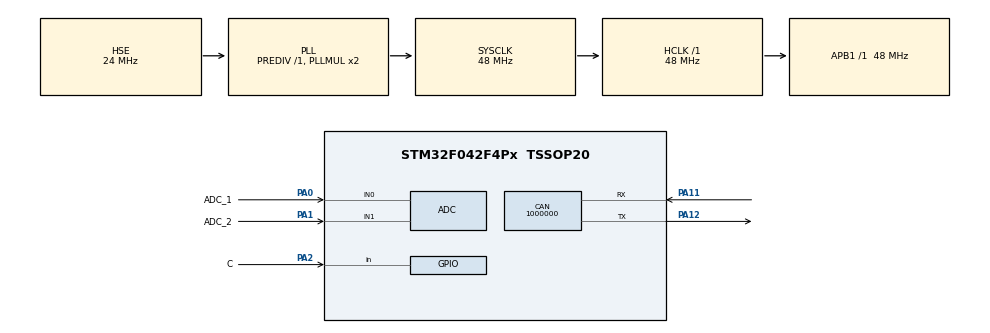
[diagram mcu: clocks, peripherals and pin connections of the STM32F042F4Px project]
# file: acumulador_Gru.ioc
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ADC.ContinuousConvMode=ENABLE
ADC.DMAContinuousRequests=ENABLE
ADC.DataAlign=ADC_DATAALIGN_LEFT
ADC.DiscontinuousConvMode=DISABLE
ADC.SamplingTime=ADC_SAMPLETIME_239CYCLES_5
CAN.CalculateBaudRate=1000000
CAN.CalculateTimeQuantum=333.3333333333333
Dma.ADC.0.Direction=DMA_PERIPH_TO_MEMORY
Dma.ADC.0.Instance=DMA1_Channel1
Dma.ADC.0.MemDataAlignment=DMA_MDATAALIGN_HALFWORD
Dma.ADC.0.MemInc=DMA_MINC_ENABLE
Dma.ADC.0.Mode=DMA_CIRCULAR
Dma.ADC.0.PeriphDataAlignment=DMA_PDATAALIGN_HALFWORD
Dma.ADC.0.PeriphInc=DMA_PINC_DISABLE
Dma.ADC.0.Priority=DMA_PRIORITY_LOW
Dma.Request0=ADC
Mcu.Family=STM32F0
Mcu.Name=STM32F042F4Px
Mcu.Package=TSSOP20
NVIC.DMA1_Channel1_IRQn=true\:0\:0\:false\:false\:true\:false\:true\:true
NVIC.TIM14_IRQn=true\:0\:0\:false\:false\:true\:true\:true\:true
PA0.GPIO_Label=ADC_1
PA0.Mode=IN0
PA0.Signal=ADC_IN0
PA1.GPIO_Label=ADC_2
PA1.Mode=IN1
PA1.Signal=ADC_IN1
PA11.GPIO_PuPd=GPIO_PULLUP
PA11.Mode=CAN_Activate
PA11.Signal=CAN_RX
PA12.Mode=CAN_Activate
PA12.Signal=CAN_TX
PA13.Mode=Serial_Wire
PA13.Signal=SYS_SWDIO
PA14.Mode=Serial_Wire
PA14.Signal=SYS_SWCLK
PA2.GPIO_Label=C
PA2.Signal=GPIO_Input
PF0-OSC_IN.Mode=HSE-External-Oscillator
PF0-OSC_IN.Signal=RCC_OSC_IN
PF1-OSC_OUT.Mode=HSE-External-Oscillator
PF1-OSC_OUT.Signal=RCC_OSC_OUT
ProjectManager.HeapSize=0x200
ProjectManager.StackSize=0x400
ProjectManager.TargetToolchain=STM32CubeIDE
RCC.AHBFreq_Value=48000000
RCC.APB1Freq_Value=48000000
RCC.APB1TimFreq_Value=48000000
RCC.HCLKFreq_Value=48000000
RCC.HSE_VALUE=24000000
RCC.PLLSourceVirtual=RCC_PLLSOURCE_HSE
RCC.SYSCLKFreq_VALUE=48000000
RCC.SYSCLKSource=RCC_SYSCLKSOURCE_PLLCLK
TIM14.Period=1
TIM14.Prescaler=48000-1
VP_SYS_VS_PINREMAP.Mode=PINREMAP
VP_TIM14_VS_ClockSourceINT.Mode=Enable_Timer
board=custom

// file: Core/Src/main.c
/* USER CODE BEGIN Header */
/**
  ******************************************************************************
  * @file           : main.c
  * @brief          : Main program body
  ******************************************************************************
  * @attention
  *
  * Copyright (c) 2024 STMicroelectronics.
  * All rights reserved.
  *
  * This software is licensed under terms that can be found in the LICENSE file
  * in the root directory of this software component.
  * If no LICENSE file comes with this software, it is provided AS-IS.
  *
  ******************************************************************************
  */
/* USER CODE END Header */
#include "main.h"

/* USER CODE BEGIN PD */
#define CAN_ID_0 0x0A0
#define CAN_ID_1 0x0A1
/* USER CODE END PD */

ADC_HandleTypeDef hadc;
DMA_HandleTypeDef hdma_adc;

CAN_HandleTypeDef hcan;

TIM_HandleTypeDef htim14;

void SystemClock_Config(void);
static void MX_GPIO_Init(void);
static void MX_DMA_Init(void);
static void MX_ADC_Init(void);
static void MX_CAN_Init(void);
static void MX_TIM14_Init(void);

/* USER CODE BEGIN 0 */
uint16_t adc_buffer[2];
uint16_t adc1;
uint16_t adc2;
uint16_t key;

CAN_TxHeaderTypeDef transmit_key = {
		.DLC = 6,
		.ExtId = 0,
		.IDE = CAN_ID_STD,
		.RTR = CAN_RTR_DATA,
		.StdId = CAN_ID_0,
		.TransmitGlobalTime = DISABLE
};
CAN_TxHeaderTypeDef transmit_time = {
		.DLC = 4,
		.ExtId = 0,
		.IDE = CAN_ID_STD,
		.RTR = CAN_RTR_DATA,
		.StdId = CAN_ID_1,
		.TransmitGlobalTime = DISABLE
};

uint32_t TxMailBox;

uint8_t TxData_key[6];
uint8_t TxData_time[4];
uint8_t falling;
uint32_t elapsed_time;
/* USER CODE END 0 */

int main(void)
{
  /* USER CODE BEGIN 1 */
	falling = 0;
	adc1 = 0;
	adc2 = 0;
  /* USER CODE END 1 */

  /* MCU Configuration--------------------------------------------------------*/

  /* Reset of all peripherals, Initializes the Flash interface and the Systick. */
  HAL_Init();

  /* Configure the system clock */
  SystemClock_Config();

  /* Initialize all configured peripherals */
  MX_GPIO_Init();
  MX_DMA_Init();
  MX_ADC_Init();
  MX_CAN_Init();
  MX_TIM14_Init();
  /* USER CODE BEGIN 2 */
  HAL_ADC_Start_DMA(&hadc, (uint32_t*)adc_buffer, 2);
  HAL_ADC_Start_IT(&hadc);
  HAL_CAN_Start(&hcan);
  /* USER CODE END 2 */

  /* Infinite loop */
  /* USER CODE BEGIN WHILE */
  while (1)
  {
	if(falling == 0 && HAL_GPIO_ReadPin(GPIOA, C_Pin) == GPIO_PIN_RESET){
		key = adc1 - adc2;
		HAL_TIM_Base_Start_IT(&htim14);
		falling = 1;
	}

	if(falling == 1 && HAL_GPIO_ReadPin(GPIOA, C_Pin) != GPIO_PIN_RESET){
		HAL_TIM_Base_Stop_IT(&htim14);
		falling = 0;

		TxData_key[0] = key;
		TxData_key[1] = key >> 8;
		TxData_key[2] = adc1;
		TxData_key[3] = adc1 >> 8;
		TxData_key[4] = adc2;
		TxData_key[5] = adc2 >> 8;

		TxData_time[0] = elapsed_time;
		TxData_time[2] = elapsed_time >> 8;
		TxData_time[3] = elapsed_time >> 16;
		TxData_time[4] = elapsed_time >> 24;

		HAL_CAN_AddTxMessage(&hcan, &transmit_key, TxData_key, &TxMailBox);
		HAL_CAN_AddTxMessage(&hcan, &transmit_time, TxData_time, &TxMailBox);
	}
    /* USER CODE END WHILE */

  }
}

void SystemClock_Config(void)
{
  RCC_OscInitTypeDef RCC_OscInitStruct = {0};
  RCC_ClkInitTypeDef RCC_ClkInitStruct = {0};

  /** Initializes the RCC Oscillators according to the specified parameters
  * in the RCC_OscInitTypeDef structure.
  */
  RCC_OscInitStruct.OscillatorType = RCC_OSCILLATORTYPE_HSI14|RCC_OSCILLATORTYPE_HSE;
  RCC_OscInitStruct.HSEState = RCC_HSE_ON;
  RCC_OscInitStruct.HSI14State = RCC_HSI14_ON;
  RCC_OscInitStruct.HSI14CalibrationValue = 16;
  RCC_OscInitStruct.PLL.PLLState = RCC_PLL_ON;
  RCC_OscInitStruct.PLL.PLLSource = RCC_PLLSOURCE_HSE;
  RCC_OscInitStruct.PLL.PLLMUL = RCC_PLL_MUL2;
  RCC_OscInitStruct.PLL.PREDIV = RCC_PREDIV_DIV1;
  if (HAL_RCC_OscConfig(&RCC_OscInitStruct) != HAL_OK)
  {
    Error_Handler();
  }

  /** Initializes the CPU, AHB and APB buses clocks
  */
  RCC_ClkInitStruct.ClockType = RCC_CLOCKTYPE_HCLK|RCC_CLOCKTYPE_SYSCLK
                              |RCC_CLOCKTYPE_PCLK1;
  RCC_ClkInitStruct.SYSCLKSource = RCC_SYSCLKSOURCE_PLLCLK;
  RCC_ClkInitStruct.AHBCLKDivider = RCC_SYSCLK_DIV1;
  RCC_ClkInitStruct.APB1CLKDivider = RCC_HCLK_DIV1;

  if (HAL_RCC_ClockConfig(&RCC_ClkInitStruct, FLASH_LATENCY_1) != HAL_OK)
  {
    Error_Handler();
  }
}

static void MX_ADC_Init(void)
{

  ADC_ChannelConfTypeDef sConfig = {0};

  /** Configure the global features of the ADC (Clock, Resolution, Data Alignment and number of conversion)
  */
  hadc.Instance = ADC1;
  hadc.Init.ClockPrescaler = ADC_CLOCK_ASYNC_DIV1;
  hadc.Init.Resolution = ADC_RESOLUTION_12B;
  hadc.Init.DataAlign = ADC_DATAALIGN_LEFT;
  hadc.Init.ScanConvMode = ADC_SCAN_DIRECTION_FORWARD;
  hadc.Init.EOCSelection = ADC_EOC_SINGLE_CONV;
  hadc.Init.LowPowerAutoWait = DISABLE;
  hadc.Init.LowPowerAutoPowerOff = DISABLE;
  hadc.Init.ContinuousConvMode = ENABLE;
  hadc.Init.DiscontinuousConvMode = DISABLE;
  hadc.Init.ExternalTrigConv = ADC_SOFTWARE_START;
  hadc.Init.ExternalTrigConvEdge = ADC_EXTERNALTRIGCONVEDGE_NONE;
  hadc.Init.DMAContinuousRequests = ENABLE;
  hadc.Init.Overrun = ADC_OVR_DATA_PRESERVED;
  if (HAL_ADC_Init(&hadc) != HAL_OK)
  {
    Error_Handler();
  }

  /** Configure for the selected ADC regular channel to be converted.
  */
  sConfig.Channel = ADC_CHANNEL_0;
  sConfig.Rank = ADC_RANK_CHANNEL_NUMBER;
  sConfig.SamplingTime = ADC_SAMPLETIME_239CYCLES_5;
  if (HAL_ADC_ConfigChannel(&hadc, &sConfig) != HAL_OK)
  {
    Error_Handler();
  }

  /** Configure for the selected ADC regular channel to be converted.
  */
  sConfig.Channel = ADC_CHANNEL_1;
  if (HAL_ADC_ConfigChannel(&hadc, &sConfig) != HAL_OK)
  {
    Error_Handler();
  }

}

static void MX_CAN_Init(void)
{

  hcan.Instance = CAN;
  hcan.Init.Prescaler = 16;
  hcan.Init.Mode = CAN_MODE_NORMAL;
  hcan.Init.SyncJumpWidth = CAN_SJW_1TQ;
  hcan.Init.TimeSeg1 = CAN_BS1_1TQ;
  hcan.Init.TimeSeg2 = CAN_BS2_1TQ;
  hcan.Init.TimeTriggeredMode = DISABLE;
  hcan.Init.AutoBusOff = DISABLE;
  hcan.Init.AutoWakeUp = DISABLE;
  hcan.Init.AutoRetransmission = DISABLE;
  hcan.Init.ReceiveFifoLocked = DISABLE;
  hcan.Init.TransmitFifoPriority = DISABLE;
  if (HAL_CAN_Init(&hcan) != HAL_OK)
  {
    Error_Handler();
  }

}

static void MX_TIM14_Init(void)
{

  htim14.Instance = TIM14;
  htim14.Init.Prescaler = 48000-1;
  htim14.Init.CounterMode = TIM_COUNTERMODE_UP;
  htim14.Init.Period = 1;
  htim14.Init.ClockDivision = TIM_CLOCKDIVISION_DIV1;
  htim14.Init.AutoReloadPreload = TIM_AUTORELOAD_PRELOAD_DISABLE;
  if (HAL_TIM_Base_Init(&htim14) != HAL_OK)
  {
    Error_Handler();
  }

}

static void MX_DMA_Init(void)
{

  /* DMA controller clock enable */
  __HAL_RCC_DMA1_CLK_ENABLE();

  /* DMA interrupt init */
  /* DMA1_Channel1_IRQn interrupt configuration */
  HAL_NVIC_SetPriority(DMA1_Channel1_IRQn, 0, 0);
  HAL_NVIC_EnableIRQ(DMA1_Channel1_IRQn);

}

static void MX_GPIO_Init(void)
{
  GPIO_InitTypeDef GPIO_InitStruct = {0};

  /* GPIO Ports Clock Enable */
  __HAL_RCC_GPIOF_CLK_ENABLE();
  __HAL_RCC_GPIOA_CLK_ENABLE();

  /*Configure GPIO pin : C_Pin */
  GPIO_InitStruct.Pin = C_Pin;
  GPIO_InitStruct.Mode = GPIO_MODE_INPUT;
  GPIO_InitStruct.Pull = GPIO_NOPULL;
  HAL_GPIO_Init(C_GPIO_Port, &GPIO_InitStruct);

}

/* USER CODE BEGIN 4 */
void HAL_ADC_ConvCpltCallback(ADC_HandleTypeDef* hadc) {
	adc1 = (uint16_t)adc_buffer[0];
	adc2 = (uint16_t)adc_buffer[1];
}

void HAL_TIM_PeriodElapsedCallback(TIM_HandleTypeDef *htim){
	if(htim->Instance == TIM14){
		elapsed_time = elapsed_time + 1;
	}
}
/* USER CODE END 4 */

void Error_Handler(void)
{
  __disable_irq();
  while (1)
  {
  }
}
